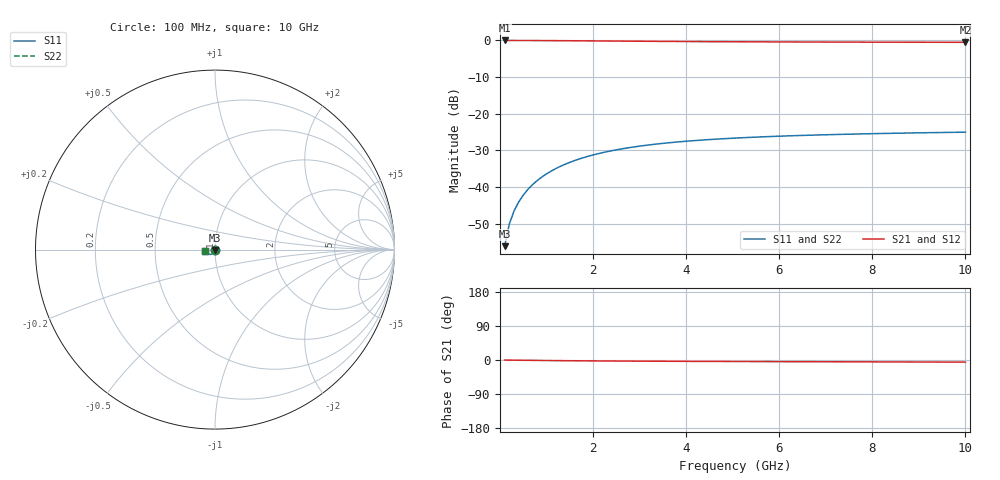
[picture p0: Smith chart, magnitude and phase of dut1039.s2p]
! Touchstone file exported from HFSS 2024.1.0
!  File:  C:/UserFiles/LocalFiles/RDL_TSV_Batchsim/temp_TSV1_1039_1780061548.aedt
!  Generated:  09:40:44 PM May 29, 2026
!  Design:  TSV1
!  Project:  temp_TSV1_1039_1780061548
!  Setup:  Setup1
!  Solution:  Sweep
! Variables:
!  dtsv = 11.69um
!  hbump = 3um
!  htsv = 87.54um
!  lrdl = 252.1521522um
!  p = 40
!  p1 = 49.39um
!  t = 500um
!  trdl = 3um
!  wrdl = 24.89489489um
# GHz S MA R 50.000000
! Terminal data exported
! Port[1] = TSV22_T1
! Port[2] = TSV22_T2
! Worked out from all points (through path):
!   100 points, 100 MHz to 10 GHz, reference 50 ohm
!   highest |S21| = 0.00 dB at 100 MHz (marker M1); lowest = -0.5 dB at 10 GHz (marker M2)
!   lowest |S11| = -56.1 dB at 100 MHz (marker M3), VSWR 1.00, Z = 50 - j0.156 ohm
!   |S11| at or under -10 dB: start of sweep to end of sweep
!   |S22| runs from -56.1 to -25.0 dB; largest |S21 - S12| = 5.3e-15
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0.1  0.001559 -87.5  0.9998 -0.1  0.9998 -0.1  0.001559 -87.5
! Gamma 0 0 0 0
! Port Impedance 50 0 50 0
0.2  0.003113 -91.2  0.9997 -0.3  0.9997 -0.3  0.003113 -91.2
0.3  0.004665 -93.5  0.9994 -0.4  0.9994 -0.4  0.004665 -93.5
0.4  0.006212 -95.5  0.9991 -0.6  0.9991 -0.6  0.006212 -95.5
0.5  0.007747 -97.4  0.9987 -0.7  0.9987 -0.7  0.007747 -97.4
0.6  0.009266 -99.2  0.9982 -0.8  0.9982 -0.8  0.009266 -99.2
0.7  0.01077 -101.0  0.9976 -1.0  0.9976 -1.0  0.01077 -101.0
0.8  0.01224 -102.8  0.9969 -1.1  0.9969 -1.1  0.01224 -102.8
0.9  0.01369 -104.5  0.9962 -1.2  0.9962 -1.2  0.01369 -104.5
1.1  0.0165 -107.8  0.9946 -1.5  0.9946 -1.5  0.0165 -107.8
1.4  0.02045 -112.5  0.9919 -1.8  0.9919 -1.8  0.02045 -112.5
1.6  0.02291 -115.5  0.9899 -2.0  0.9899 -2.0  0.02291 -115.5
1.8  0.02522 -118.3  0.9879 -2.2  0.9879 -2.2  0.02522 -118.3
2.1  0.02841 -122.4  0.9847 -2.4  0.9847 -2.4  0.02841 -122.4
2.5  0.03216 -127.3  0.9805 -2.7  0.9805 -2.7  0.03216 -127.3
2.9  0.03539 -131.8  0.9765 -3.0  0.9765 -3.0  0.03539 -131.8
3.4  0.0388 -136.8  0.9718 -3.3  0.9718 -3.3  0.0388 -136.8
4.2  0.04309 -143.6  0.9654 -3.6  0.9654 -3.6  0.04309 -143.6
5.1  0.04668 -149.9  0.9596 -4.0  0.9596 -4.0  0.04668 -149.9
6.7  0.05104 -158.8  0.9522 -4.5  0.9522 -4.5  0.05104 -158.8
8.4  0.05405 -166.1  0.947 -5.1  0.947 -5.1  0.05405 -166.1
10  0.05604 -171.8  0.9436 -5.6  0.9436 -5.6  0.05604 -171.8
